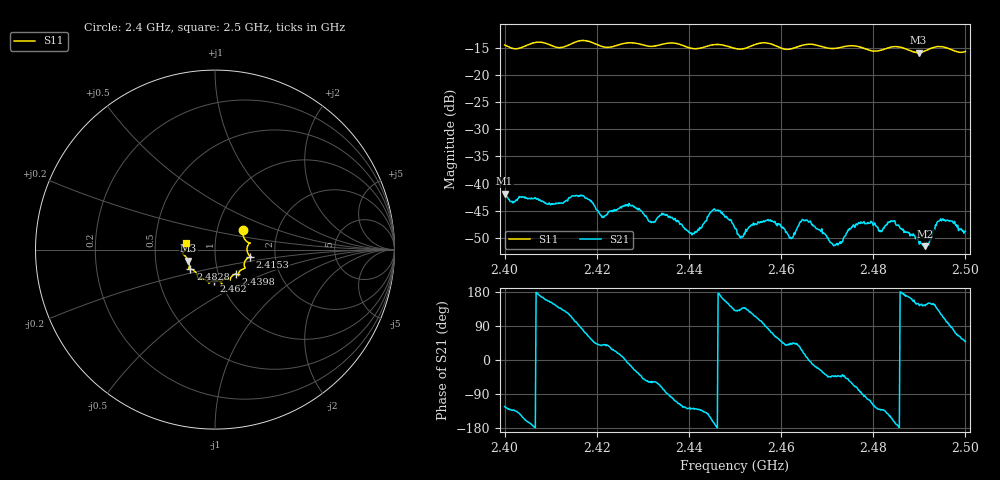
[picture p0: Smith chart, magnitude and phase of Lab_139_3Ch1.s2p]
# Hz S RI R 50
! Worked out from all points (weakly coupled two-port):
!   601 points, 2.4 GHz to 2.5 GHz, reference 50 ohm
!   highest |S21| = -41.90 dB at 2.4 GHz (marker M1); lowest = -51.5 dB at 2.4913 GHz (marker M2)
!   lowest |S11| = -15.9 dB at 2.4898 GHz (marker M3), VSWR 1.38, Z = 36.8 - j4.63 ohm
!   |S11| at or under -10 dB: start of sweep to end of sweep
!   S12 and S22 are empty: the file has one direction only
!   S11 on the Smith chart (normalised r, x): 2.4 GHz: 1.33, +0.29; 2.4153 GHz: 1.48, -0.12; 2.4398 GHz: 1.21, -0.34; 2.462 GHz: 0.93, -0.33; 2.4828 GHz: 0.74, -0.17; 2.5 GHz: 0.72, +0.06
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2.4e9  0.1552 0.1067  -0.00435 -0.00676  0 0  0 0
2.415333e9  0.1965 -0.0389  -0.00145 0.00754  0 0  0 0
2.416667e9  0.2025 -0.0428  0.000861 0.00773  0 0  0 0
2.421333e9  0.1723 -0.0563  0.00384 0.00321  0 0  0 0
2.426833e9  0.1684 -0.1026  0.00612 -0.000901  0 0  0 0
2.433333e9  0.1308 -0.1338  0.00226 -0.00439  0 0  0 0
2.439833e9  0.1155 -0.1363  -0.00225 -0.00286  0 0  0 0
2.445667e9  0.0843 -0.1702  -0.00566 -0.000957  0 0  0 0
2.45e9  0.0653 -0.1623  -0.00251 0.00292  0 0  0 0
2.451333e9  0.0503 -0.1652  -0.00225 0.00232  0 0  0 0
2.4575e9  0.0387 -0.1904  0.000938 0.00446  0 0  0 0
2.462e9  -0.00504 -0.1728  0.0023 0.00222  0 0  0 0
2.4645e9  -0.0304 -0.1844  0.00416 0.002  0 0  0 0
2.466667e9  -0.0342 -0.188  0.00411 -0.000707  0 0  0 0
2.471833e9  -0.0678 -0.1617  0.00202 -0.0018  0 0  0 0
2.476833e9  -0.0958 -0.1546  0.000752 -0.00431  0 0  0 0
2.482833e9  -0.1365 -0.1093  -0.00314 -0.00275  0 0  0 0
2.483333e9  -0.1403 -0.109  -0.00357 -0.00253  0 0  0 0
2.489833e9  -0.1482 -0.0612  -0.00256 0.00157  0 0  0 0
2.491333e9  -0.1613 -0.0413  -0.00213 0.00158  0 0  0 0
2.494667e9  -0.1808 -0.0204  -0.00241 0.00408  0 0  0 0
2.5e9  -0.1592 0.0391  0.00243 0.00272  0 0  0 0
